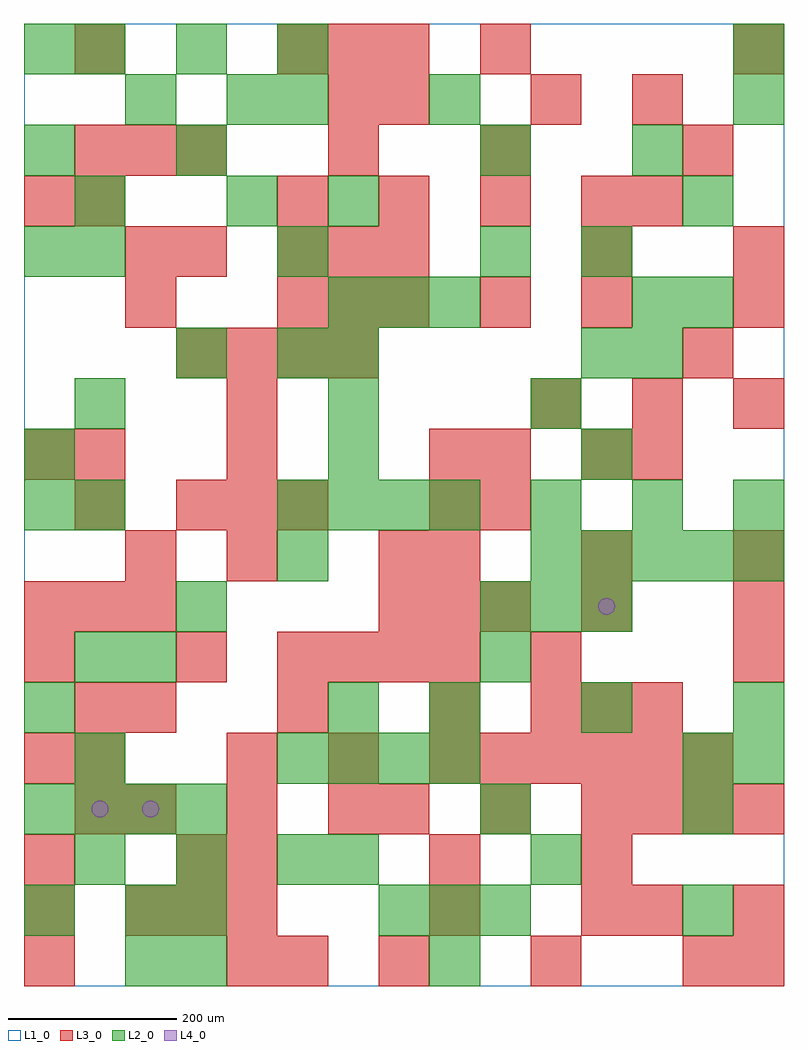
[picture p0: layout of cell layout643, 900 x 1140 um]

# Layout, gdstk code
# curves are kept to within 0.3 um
import gdstk
lib = gdstk.Library(unit=1e-6, precision=1e-09)
def R(c, l, rs):  # rectangles x0, y0, x1, y1
    for r in rs: c.add(gdstk.rectangle(r[:2], r[2:], *l))
def A(c, l, x, y, w, h, nx, ny, dx, dy):  # array of equal rectangles
    R(c, l, [(x+i*dx, y+j*dy, x+i*dx+w, y+j*dy+h) for i in range(nx) for j in range(ny)])
def P(c, l, *ps):  # polygons
    for p in ps: c.add(gdstk.Polygon(p, *l))
L1_0 = (1, 0)
L2_0 = (2, 0)
L3_0 = (3, 0)
L4_0 = (4, 0)

layout643 = lib.new_cell('layout643')
R(layout643, L1_0, [(0,0,900,1140)])
A(layout643, L2_0, 0, 60, 60, 60, 1, 3, 0, 240)
A(layout643, L2_0, 420, 60, 60, 60, 3, 1, 60, 0)
A(layout643, L2_0, 60, 120, 60, 60, 3, 2, 120, 960)
A(layout643, L2_0, 0, 180, 60, 60, 4, 1, 60, 0)
A(layout643, L2_0, 300, 240, 60, 60, 4, 2, 60, 300)
A(layout643, L2_0, 480, 300, 60, 60, 3, 1, 180, 0)
A(layout643, L2_0, 540, 420, 60, 60, 3, 1, 60, 0)
A(layout643, L2_0, 600, 480, 60, 60, 5, 1, 60, 0)
A(layout643, L2_0, 600, 540, 60, 60, 3, 1, 120, 0)
A(layout643, L2_0, 360, 600, 60, 60, 1, 3, 0, 60)
A(layout643, L2_0, 660, 600, 60, 60, 1, 3, 0, 120)
A(layout643, L2_0, 360, 780, 60, 60, 3, 1, 60, 0)
A(layout643, L2_0, 0, 840, 60, 60, 1, 3, 0, 120)
A(layout643, L2_0, 60, 840, 60, 60, 3, 1, 240, 0)
R(layout643, L2_0, [(120,0,180,60), (180,0,240,60), (480,0,540,60), (120,60,180,120), (180,60,240,120), (780,60,840,120), (360,120,420,180), (600,120,660,180), (540,180,600,240), (780,180,840,240), (60,240,120,300), (780,240,840,300), (840,240,900,300), (360,300,420,360), (60,360,120,420), (120,360,180,420), (540,360,600,420), (180,420,240,480), (300,480,360,540), (60,540,120,600), (0,600,60,660), (60,660,120,720), (600,660,660,720), (180,720,240,780), (300,720,360,780), (720,720,780,780), (720,780,780,840), (780,780,840,840), (60,900,120,960), (240,900,300,960), (360,900,420,960), (780,900,840,960), (180,960,240,1020), (540,960,600,1020), (720,960,780,1020), (120,1020,180,1080), (240,1020,300,1080), (300,1020,360,1080), (480,1020,540,1080), (840,1020,900,1080), (840,1080,900,1140)])
A(layout643, L3_0, 0, 0, 60, 60, 1, 3, 0, 60)
A(layout643, L3_0, 420, 0, 60, 60, 3, 1, 180, 0)
A(layout643, L3_0, 120, 60, 60, 60, 3, 1, 60, 0)
A(layout643, L3_0, 60, 180, 60, 60, 1, 3, 0, 60)
A(layout643, L3_0, 120, 180, 60, 60, 3, 1, 120, 0)
A(layout643, L3_0, 420, 180, 60, 60, 3, 1, 120, 0)
A(layout643, L3_0, 720, 180, 60, 60, 3, 1, 60, 0)
A(layout643, L3_0, 240, 240, 60, 60, 3, 1, 120, 0)
A(layout643, L3_0, 540, 240, 60, 60, 5, 1, 60, 0)
A(layout643, L3_0, 120, 300, 60, 60, 3, 1, 180, 0)
A(layout643, L3_0, 600, 300, 60, 60, 3, 1, 60, 0)
A(layout643, L3_0, 300, 360, 60, 60, 4, 1, 60, 0)
A(layout643, L3_0, 0, 420, 60, 60, 3, 1, 60, 0)
A(layout643, L3_0, 420, 420, 60, 60, 3, 1, 60, 0)
A(layout643, L3_0, 660, 420, 60, 60, 1, 3, 0, 180)
A(layout643, L3_0, 480, 480, 60, 60, 3, 1, 180, 0)
A(layout643, L3_0, 180, 540, 60, 60, 3, 1, 60, 0)
A(layout643, L3_0, 540, 600, 60, 60, 1, 3, 0, 180)
A(layout643, L3_0, 600, 660, 60, 60, 3, 1, 120, 0)
A(layout643, L3_0, 180, 720, 60, 60, 4, 1, 60, 0)
A(layout643, L3_0, 300, 780, 60, 60, 3, 2, 60, 60)
A(layout643, L3_0, 300, 900, 60, 60, 4, 1, 120, 0)
A(layout643, L3_0, 60, 960, 60, 60, 3, 1, 60, 0)
A(layout643, L3_0, 300, 1080, 60, 60, 3, 1, 60, 0)
R(layout643, L3_0, [(240,0,300,60), (300,0,360,60), (840,0,900,60), (480,60,540,120), (660,60,720,120), (720,60,780,120), (840,60,900,120), (180,120,240,180), (240,120,300,180), (480,120,540,180), (660,120,720,180), (0,240,60,300), (0,360,60,420), (180,360,240,420), (600,360,660,420), (840,360,900,420), (840,420,900,480), (120,480,180,540), (240,480,300,540), (420,480,480,540), (60,540,120,600), (480,540,540,600), (540,540,600,600), (0,600,60,660), (60,600,120,660), (240,600,300,660), (480,600,540,660), (720,600,780,660), (240,660,300,720), (780,720,840,780), (120,780,180,840), (840,780,900,840), (120,840,180,900), (180,840,240,900), (660,840,720,900), (840,840,900,900), (0,900,60,960), (60,900,120,960), (720,900,780,960), (360,960,420,1020), (780,960,840,1020), (360,1020,420,1080), (420,1020,480,1080), (600,1020,660,1080), (720,1020,780,1080), (60,1080,120,1140), (540,1080,600,1140), (840,1080,900,1140)])
P(layout643, L4_0, [(100,210),(99.239,213.827),(97.071,217.071),(93.827,219.239),(90,220),(86.173,219.239),(82.929,217.071),(80.761,213.827),(80,210),(80.761,206.173),(82.929,202.929),(86.173,200.761),(90,200),(93.827,200.761),(97.071,202.929),(99.239,206.173)],
  [(160,210),(159.239,213.827),(157.071,217.071),(153.827,219.239),(150,220),(146.173,219.239),(142.929,217.071),(140.761,213.827),(140,210),(140.761,206.173),(142.929,202.929),(146.173,200.761),(150,200),(153.827,200.761),(157.071,202.929),(159.239,206.173)],
  [(700,450),(699.239,453.827),(697.071,457.071),(693.827,459.239),(690,460),(686.173,459.239),(682.929,457.071),(680.761,453.827),(680,450),(680.761,446.173),(682.929,442.929),(686.173,440.761),(690,440),(693.827,440.761),(697.071,442.929),(699.239,446.173)])

lib.write_gds('layout643.gds')
